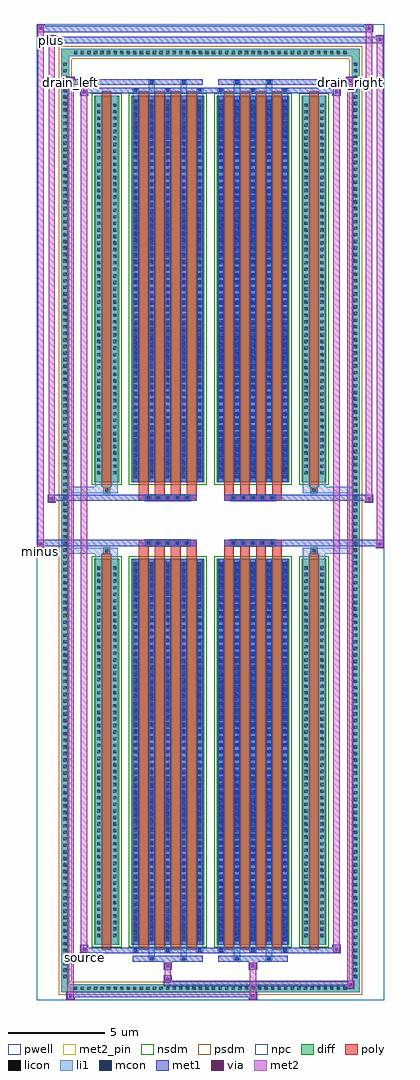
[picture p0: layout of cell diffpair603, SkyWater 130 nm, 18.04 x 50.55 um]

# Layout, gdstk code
import gdstk
lib = gdstk.Library(unit=1e-6, precision=5e-09)
def R(c, l, rs):  # rectangles x0, y0, x1, y1
    for r in rs: c.add(gdstk.rectangle(r[:2], r[2:], *l))
def A(c, l, x, y, w, h, nx, ny, dx, dy):  # array of equal rectangles
    R(c, l, [(x+i*dx, y+j*dy, x+i*dx+w, y+j*dy+h) for i in range(nx) for j in range(ny)])
def P(c, l, *ps):  # polygons
    for p in ps: c.add(gdstk.Polygon(p, *l))
pwell = (64, 44)
diff = (65, 20)
poly = (66, 20)
licon = (66, 44)
li1 = (67, 20)
mcon = (67, 44)
met1 = (68, 20)
via = (68, 44)
met2_pin = (69, 16)
met2 = (69, 20)
nsdm = (93, 44)
psdm = (94, 20)
npc = (95, 20)

diffpair603 = lib.new_cell('diffpair603')
R(diffpair603, pwell, [(-9,-24.84,9,25.71), (-6.32,-23.03,-0.01,-0.805), (0.01,-23.03,6.32,-0.805), (-6.32,0.805,-0.01,23.03), (0.01,0.805,6.32,23.03)])
A(diffpair603, diff, -7.175, -24.44, 0.41, 0.41, 42, 2, 0.34, 48.47)
A(diffpair603, diff, -7.73, -23.835, 0.41, 0.41, 1, 140, 0, 0.34)
A(diffpair603, diff, 7.32, -23.835, 0.41, 0.41, 1, 140, 0, 0.34)
R(diffpair603, diff, [(-7.175,-24.44,7.175,-24.03), (-7.73,-23.835,-7.32,23.835), (7.32,-23.835,7.73,23.835), (-6.01,-21.985,-4.73,-1.985), (-4.09,-21.985,-0.32,-1.985), (0.32,-21.985,4.09,-1.985), (4.73,-21.985,6.01,-1.985), (-6.01,1.985,-4.73,21.985), (-4.09,1.985,-0.32,21.985), (0.32,1.985,4.09,21.985), (4.73,1.985,6.01,21.985), (-7.175,24.03,7.175,24.44)])
P(diffpair603, diff, [(7.73,24.44),(-7.73,24.44),(-7.73,-24.03),(-7.32,-24.03),(-7.32,24.03),(7.32,24.03),(7.32,-24.03),(-7.32,-24.03),(-7.73,-24.03),(-7.73,-24.44),(7.73,-24.44)])
A(diffpair603, poly, -3.7, -22.235, 0.5, 20.5, 4, 2, 0.83, 23.97)
A(diffpair603, poly, 0.71, -22.235, 0.5, 20.5, 4, 2, 0.83, 23.97)
A(diffpair603, poly, -3.7, -1.735, 0.5, 0.4, 4, 2, 0.83, 3.07)
A(diffpair603, poly, 0.71, -1.735, 0.5, 0.4, 4, 2, 0.83, 3.07)
A(diffpair603, poly, -3.37, -1.335, 0.33, 0.33, 5, 2, 0.5, 2.34)
A(diffpair603, poly, 1.04, -1.335, 0.33, 0.33, 5, 2, 0.5, 2.34)
R(diffpair603, poly, [(-5.62,-22.235,-5.12,-1.735), (5.12,-22.235,5.62,-1.735), (-5.535,-1.735,-5.205,-1.405), (-5.535,-1.735,-5.205,-1.405), (5.205,-1.735,5.535,-1.405), (5.205,-1.735,5.535,-1.405), (-3.7,-1.335,-0.71,-1.005), (0.71,-1.335,3.7,-1.005), (-3.7,1.005,-0.71,1.335), (0.71,1.005,3.7,1.335), (-5.535,1.405,-5.205,1.735), (-5.535,1.405,-5.205,1.735), (5.205,1.405,5.535,1.735), (5.205,1.405,5.535,1.735), (-5.62,1.735,-5.12,22.235), (5.12,1.735,5.62,22.235)])
A(diffpair603, licon, -7.055, -24.32, 0.17, 0.17, 42, 2, 0.34, 48.47)
A(diffpair603, licon, -7.61, -23.715, 0.17, 0.17, 1, 140, 0, 0.34)
A(diffpair603, licon, 7.44, -23.715, 0.17, 0.17, 1, 140, 0, 0.34)
A(diffpair603, licon, -5.87, -21.59, 0.17, 0.17, 1, 57, 0, 0.34)
A(diffpair603, licon, -5.04, -21.59, 0.17, 0.17, 1, 57, 0, 0.34)
A(diffpair603, licon, -3.95, -21.59, 0.17, 0.17, 5, 57, 0.83, 0.34)
A(diffpair603, licon, 0.46, -21.59, 0.17, 0.17, 5, 57, 0.83, 0.34)
A(diffpair603, licon, 4.87, -21.59, 0.17, 0.17, 1, 57, 0, 0.34)
A(diffpair603, licon, 5.7, -21.59, 0.17, 0.17, 1, 57, 0, 0.34)
A(diffpair603, licon, -3.29, -1.255, 0.17, 0.17, 5, 2, 0.5, 2.34)
A(diffpair603, licon, 1.12, -1.255, 0.17, 0.17, 5, 2, 0.5, 2.34)
A(diffpair603, licon, -5.87, 2.38, 0.17, 0.17, 1, 57, 0, 0.34)
A(diffpair603, licon, -5.04, 2.38, 0.17, 0.17, 1, 57, 0, 0.34)
A(diffpair603, licon, -3.95, 2.38, 0.17, 0.17, 5, 57, 0.83, 0.34)
A(diffpair603, licon, 0.46, 2.38, 0.17, 0.17, 5, 57, 0.83, 0.34)
A(diffpair603, licon, 4.87, 2.38, 0.17, 0.17, 1, 57, 0, 0.34)
A(diffpair603, licon, 5.7, 2.38, 0.17, 0.17, 1, 57, 0, 0.34)
R(diffpair603, licon, [(-5.455,-1.655,-5.285,-1.485), (5.285,-1.655,5.455,-1.485), (-5.455,1.485,-5.285,1.655), (5.285,1.485,5.455,1.655)])
A(diffpair603, li1, -7.135, -24.4, 0.33, 0.33, 42, 2, 0.34, 48.47)
A(diffpair603, li1, -7.69, -23.795, 0.33, 0.33, 1, 140, 0, 0.34)
A(diffpair603, li1, 7.36, -23.795, 0.33, 0.33, 1, 140, 0, 0.34)
A(diffpair603, li1, -4.03, -22.36, 0.33, 0.375, 3, 2, 1.66, 44.345)
A(diffpair603, li1, -3.95, -22.36, 0.17, 0.17, 3, 2, 1.66, 44.55)
A(diffpair603, li1, 0.38, -22.36, 0.33, 0.375, 3, 2, 1.66, 44.345)
A(diffpair603, li1, 0.46, -22.36, 0.17, 0.17, 3, 2, 1.66, 44.55)
A(diffpair603, li1, -4.03, -21.985, 0.33, 20, 5, 2, 0.83, 23.97)
A(diffpair603, li1, 0.38, -21.985, 0.33, 20, 5, 2, 0.83, 23.97)
A(diffpair603, li1, -3.95, -21.79, 0.17, 0.17, 5, 55, 0.83, 0.36)
A(diffpair603, li1, -3.95, -21.79, 0.17, 19.61, 5, 2, 0.83, 23.97)
A(diffpair603, li1, 0.46, -21.79, 0.17, 0.17, 5, 55, 0.83, 0.36)
A(diffpair603, li1, 0.46, -21.79, 0.17, 19.61, 5, 2, 0.83, 23.97)
A(diffpair603, li1, -5.95, -21.67, 0.33, 0.33, 1, 57, 0, 0.34)
A(diffpair603, li1, -5.12, -21.67, 0.33, 0.33, 1, 57, 0, 0.34)
A(diffpair603, li1, -4.03, -21.67, 0.33, 0.33, 5, 57, 0.83, 0.34)
A(diffpair603, li1, 0.38, -21.67, 0.33, 0.33, 5, 57, 0.83, 0.34)
A(diffpair603, li1, 4.79, -21.67, 0.33, 0.33, 1, 57, 0, 0.34)
A(diffpair603, li1, 5.62, -21.67, 0.33, 0.33, 1, 57, 0, 0.34)
A(diffpair603, li1, -3.37, -1.335, 0.33, 0.33, 5, 2, 0.5, 2.34)
A(diffpair603, li1, 1.04, -1.335, 0.33, 0.33, 5, 2, 0.5, 2.34)
A(diffpair603, li1, -3.95, 2.18, 0.17, 0.17, 5, 55, 0.83, 0.36)
A(diffpair603, li1, 0.46, 2.18, 0.17, 0.17, 5, 55, 0.83, 0.36)
A(diffpair603, li1, -5.95, 2.3, 0.33, 0.33, 1, 57, 0, 0.34)
A(diffpair603, li1, -5.12, 2.3, 0.33, 0.33, 1, 57, 0, 0.34)
A(diffpair603, li1, -4.03, 2.3, 0.33, 0.33, 5, 57, 0.83, 0.34)
A(diffpair603, li1, 0.38, 2.3, 0.33, 0.33, 5, 57, 0.83, 0.34)
A(diffpair603, li1, 4.79, 2.3, 0.33, 0.33, 1, 57, 0, 0.34)
A(diffpair603, li1, 5.62, 2.3, 0.33, 0.33, 1, 57, 0, 0.34)
R(diffpair603, li1, [(-7.73,-24.44,-7.32,-24.03), (-7.73,-24.44,-7.32,-24.03), (-7.32,-24.44,7.32,-24.03), (7.32,-24.44,7.73,-24.03), (7.32,-24.44,7.73,-24.03), (-7.73,-24.03,-7.32,24.03), (7.32,-24.03,7.73,24.03), (-3.2,-22.79,-2.87,-21.985), (-3.12,-22.79,-2.95,-22.62), (-1.54,-22.79,-1.21,-21.985), (-1.46,-22.79,-1.29,-22.62), (1.21,-22.79,1.54,-21.985), (1.29,-22.79,1.46,-22.62), (2.87,-22.79,3.2,-21.985), (2.95,-22.79,3.12,-22.62), (-5.95,-21.985,-5.62,-1.985), (-5.12,-21.985,-4.79,-1.985), (4.79,-21.985,5.12,-1.985), (5.62,-21.985,5.95,-1.985), (-5.95,-1.985,-5.62,-1.405), (-5.12,-1.985,-4.79,-1.405), (4.79,-1.985,5.12,-1.405), (5.62,-1.985,5.95,-1.405), (-7.73,-1.735,-5.535,-1.405), (-5.95,-1.735,-5.535,-1.405), (-5.535,-1.735,-5.205,-1.405), (-5.205,-1.735,-4.79,-1.405), (4.79,-1.735,5.205,-1.405), (5.205,-1.735,5.535,-1.405), (5.205,-1.735,7.73,-1.405), (5.535,-1.735,5.95,-1.405), (-7.73,1.405,-5.535,1.735), (-5.95,1.405,-5.535,1.735), (-5.95,1.405,-5.62,1.985), (-5.535,1.405,-5.205,1.735), (-5.205,1.405,-4.79,1.735), (-5.12,1.405,-4.79,1.985), (4.79,1.405,5.205,1.735), (4.79,1.405,5.12,1.985), (5.205,1.405,5.535,1.735), (5.205,1.405,7.73,1.735), (5.535,1.405,5.95,1.735), (5.62,1.405,5.95,1.985), (-5.95,1.985,-5.62,21.985), (-5.12,1.985,-4.79,21.985), (4.79,1.985,5.12,21.985), (5.62,1.985,5.95,21.985), (-3.2,21.985,-2.87,22.79), (-1.54,21.985,-1.21,22.79), (1.21,21.985,1.54,22.79), (2.87,21.985,3.2,22.79), (-3.12,22.62,-2.95,22.79), (-1.46,22.62,-1.29,22.79), (1.29,22.62,1.46,22.79), (2.95,22.62,3.12,22.79), (-7.73,24.03,-7.32,24.44), (-7.73,24.03,-7.32,24.44), (-7.32,24.03,7.32,24.44), (7.32,24.03,7.73,24.44), (7.32,24.03,7.73,24.44)])
A(diffpair603, mcon, -3.95, -22.36, 0.17, 0.17, 3, 2, 1.66, 44.55)
A(diffpair603, mcon, 0.46, -22.36, 0.17, 0.17, 3, 2, 1.66, 44.55)
A(diffpair603, mcon, -3.95, -21.79, 0.17, 0.17, 5, 55, 0.83, 0.36)
A(diffpair603, mcon, 0.46, -21.79, 0.17, 0.17, 5, 55, 0.83, 0.36)
A(diffpair603, mcon, -3.29, -1.255, 0.17, 0.17, 5, 2, 0.5, 2.34)
A(diffpair603, mcon, 1.12, -1.255, 0.17, 0.17, 5, 2, 0.5, 2.34)
A(diffpair603, mcon, -3.95, 2.18, 0.17, 0.17, 5, 55, 0.83, 0.36)
A(diffpair603, mcon, 0.46, 2.18, 0.17, 0.17, 5, 55, 0.83, 0.36)
R(diffpair603, mcon, [(-3.12,-22.79,-2.95,-22.62), (-1.46,-22.79,-1.29,-22.62), (1.29,-22.79,1.46,-22.62), (2.95,-22.79,3.12,-22.62), (-3.12,22.62,-2.95,22.79), (-1.46,22.62,-1.29,22.79), (1.29,22.62,1.46,22.79), (2.95,22.62,3.12,22.79)])
A(diffpair603, met1, -4.01, -22.42, 0.29, 0.29, 3, 2, 1.66, 44.55)
A(diffpair603, met1, 0.4, -22.42, 0.29, 0.29, 3, 2, 1.66, 44.55)
A(diffpair603, met1, -4.01, -21.985, 0.29, 20, 5, 2, 0.83, 23.97)
A(diffpair603, met1, 0.4, -21.985, 0.29, 20, 5, 2, 0.83, 23.97)
A(diffpair603, met1, -4.01, -21.85, 0.29, 0.29, 5, 55, 0.83, 0.36)
A(diffpair603, met1, 0.4, -21.85, 0.29, 0.29, 5, 55, 0.83, 0.36)
A(diffpair603, met1, -3.35, -1.315, 0.29, 0.29, 5, 2, 0.5, 2.34)
A(diffpair603, met1, 1.06, -1.315, 0.29, 0.29, 5, 2, 0.5, 2.34)
A(diffpair603, met1, -4.01, 2.12, 0.29, 0.29, 5, 55, 0.83, 0.36)
A(diffpair603, met1, 0.4, 2.12, 0.29, 0.29, 5, 55, 0.83, 0.36)
R(diffpair603, met1, [(-7.46,-24.84,-7.03,-24.41), (1.99,-24.84,2.42,-24.41), (-7.46,-24.7,2.42,-24.41), (7.03,-24.27,7.46,-23.84), (-2.42,-24.13,7.46,-23.84), (-2.42,-23.99,-1.99,-23.56), (-2.42,-23.28,-1.99,-22.85), (1.99,-23.28,2.42,-22.85), (-4.01,-22.85,-0.4,-22.56), (-3.18,-22.85,-2.89,-22.56), (-1.52,-22.85,-1.23,-22.56), (0.4,-22.85,4.01,-22.56), (1.23,-22.85,1.52,-22.56), (2.89,-22.85,3.18,-22.56), (-6.75,-22.42,-6.32,-21.99), (-6.75,-22.42,-4.01,-22.13), (-4.01,-22.42,-0.4,-22.13), (-0.4,-22.42,0.4,-22.13), (0.4,-22.42,4.01,-22.13), (4.01,-22.42,6.75,-22.13), (6.32,-22.42,6.75,-21.99), (-9,-1.435,-8.57,-1.005), (8.57,-1.435,9,-1.005), (-9,-1.335,-0.71,-1.005), (-3.7,-1.335,-0.71,-1.005), (0.71,-1.335,3.7,-1.005), (0.71,-1.335,9,-1.005), (-8.43,0.905,-8,1.335), (8,0.905,8.43,1.335), (-8.43,1.005,-3.7,1.335), (-3.7,1.005,-0.71,1.335), (0.71,1.005,3.7,1.335), (3.7,1.005,8.43,1.335), (-6.75,21.99,-6.32,22.42), (6.32,21.99,6.75,22.42), (-6.75,22.13,-4.01,22.42), (-4.01,22.13,-0.4,22.42), (-0.4,22.13,0.4,22.42), (0.4,22.13,4.01,22.42), (4.01,22.13,6.75,22.42), (-7.46,22.56,-7.03,22.99), (-7.46,22.56,-4.01,22.85), (-4.01,22.56,-0.4,22.85), (-3.18,22.56,-2.89,22.85), (-1.52,22.56,-1.23,22.85), (0.4,22.56,4.01,22.85), (1.23,22.56,1.52,22.85), (2.89,22.56,3.18,22.85), (4.01,22.56,7.46,22.85), (7.03,22.56,7.46,22.99), (-8.43,24.71,-8,25.14), (-8.43,24.71,-6.32,25.04), (-6.32,24.71,6.32,25.04), (6.32,24.71,9,25.04), (8.57,24.71,9,25.14), (-9,25.28,-8.57,25.71), (-9,25.28,-6.32,25.61), (-6.32,25.28,6.32,25.61), (6.32,25.28,8.43,25.61), (8,25.28,8.43,25.71)])
R(diffpair603, via, [(-7.32,-24.7,-7.17,-24.55), (2.13,-24.7,2.28,-24.55), (7.17,-24.13,7.32,-23.98), (-2.28,-23.85,-2.13,-23.7), (-2.28,-23.14,-2.13,-22.99), (2.13,-23.14,2.28,-22.99), (-6.61,-22.28,-6.46,-22.13), (6.46,-22.28,6.61,-22.13), (-8.86,-1.295,-8.71,-1.145), (8.71,-1.295,8.86,-1.145), (-8.29,1.045,-8.14,1.195), (8.14,1.045,8.29,1.195), (-6.61,22.13,-6.46,22.28), (6.46,22.13,6.61,22.28), (-7.32,22.7,-7.17,22.85), (7.17,22.7,7.32,22.85), (-8.29,24.85,-8.14,25), (8.71,24.85,8.86,25), (-8.86,25.42,-8.71,25.57), (8.14,25.42,8.29,25.57)])
R(diffpair603, met2_pin, [(-6.785,-22.87,-6.285,-22.37), (-9.035,-1.885,-8.535,-1.385), (-7.495,22.44,-6.995,22.94), (6.995,22.44,7.495,22.94), (-8.465,24.59,-7.965,25.09)])
R(diffpair603, met2, [(-7.41,-24.79,-7.08,-24.46), (-7.41,-24.79,-7.08,22.94), (2.04,-24.79,2.37,-24.46), (2.04,-24.46,2.37,-23.23), (7.08,-24.22,7.41,-23.89), (7.08,-24.22,7.41,22.94), (-2.37,-23.94,-2.04,-23.61), (-2.37,-23.61,-2.04,-23.23), (-2.37,-23.23,-2.04,-22.9), (2.04,-23.23,2.37,-22.9), (-6.7,-22.37,-6.37,-22.04), (-6.7,-22.37,-6.37,22.37), (6.37,-22.37,6.7,-22.04), (6.37,-22.37,6.7,22.37), (-8.95,-1.385,-8.62,-1.055), (-8.95,-1.385,-8.62,25.66), (8.62,-1.385,8.95,-1.055), (8.62,-1.385,8.95,25.09), (-8.38,0.955,-8.05,1.285), (-8.38,0.955,-8.05,25.09), (8.05,0.955,8.38,1.285), (8.05,0.955,8.38,25.66), (-6.7,22.04,-6.37,22.37), (6.37,22.04,6.7,22.37), (-7.41,22.61,-7.08,22.94), (7.08,22.61,7.41,22.94), (-8.38,24.76,-8.05,25.09), (8.62,24.76,8.95,25.09), (-8.95,25.33,-8.62,25.66), (8.05,25.33,8.38,25.66)])
P(diffpair603, met2, [(8.95,-1.385),(8.95,-1.385),(8.95,-1.055),(8.95,-1.055)],
  [(8.95,24.76),(8.95,24.76),(8.95,25.09),(8.95,25.09)],
  [(-8.62,-1.385),(-8.62,-1.385),(-8.62,-1.055),(-8.62,-1.055)],
  [(-8.62,25.33),(-8.62,25.33),(-8.62,25.66),(-8.62,25.66)],
  [(8.38,0.955),(8.38,0.955),(8.38,1.285),(8.38,1.285)],
  [(8.38,25.33),(8.38,25.33),(8.38,25.66),(8.38,25.66)],
  [(-8.05,0.955),(-8.05,0.955),(-8.05,1.285),(-8.05,1.285)],
  [(-8.05,24.76),(-8.05,24.76),(-8.05,25.09),(-8.05,25.09)],
  [(-7.08,-24.79),(-7.08,-24.79),(-7.08,-24.46),(-7.08,-24.46)],
  [(-7.08,22.61),(-7.08,22.61),(-7.08,22.94),(-7.08,22.94)],
  [(7.41,-24.22),(7.41,-24.22),(7.41,-23.89),(7.41,-23.89)],
  [(7.41,22.61),(7.41,22.61),(7.41,22.94),(7.41,22.94)],
  [(-6.37,-22.37),(-6.37,-22.37),(-6.37,-22.04),(-6.37,-22.04)],
  [(-6.37,22.04),(-6.37,22.04),(-6.37,22.37),(-6.37,22.37)],
  [(6.7,-22.37),(6.7,-22.37),(6.7,-22.04),(6.7,-22.04)],
  [(6.7,22.04),(6.7,22.04),(6.7,22.37),(6.7,22.37)])
R(diffpair603, nsdm, [(-6.14,-22.115,-4.6,-1.855), (-4.22,-22.115,-0.19,-1.855), (0.19,-22.115,4.22,-1.855), (4.6,-22.115,6.14,-1.855), (-6.14,1.855,-4.6,22.115), (-4.22,1.855,-0.19,22.115), (0.19,1.855,4.22,22.115), (4.6,1.855,6.14,22.115)])
P(diffpair603, psdm, [(7.86,24.57),(-7.86,24.57),(-7.86,-23.9),(-7.19,-23.9),(-7.19,23.9),(7.19,23.9),(7.19,-23.9),(-7.19,-23.9),(-7.86,-23.9),(-7.86,-24.57),(7.86,-24.57)])
A(diffpair603, npc, -3.39, -1.355, 0.37, 0.37, 5, 2, 0.5, 2.34)
A(diffpair603, npc, 1.02, -1.355, 0.37, 0.37, 5, 2, 0.5, 2.34)
R(diffpair603, npc, [(-5.555,-1.755,-5.185,-1.385), (5.185,-1.755,5.555,-1.385), (-3.39,-1.355,-2.52,-0.985), (-3.39,-1.355,-2.52,-0.985), (-2.89,-1.355,-2.02,-0.985), (-2.89,-1.355,-2.02,-0.985), (-2.39,-1.355,-1.52,-0.985), (-2.39,-1.355,-1.52,-0.985), (-1.89,-1.355,-1.02,-0.985), (-1.89,-1.355,-1.02,-0.985), (1.02,-1.355,1.89,-0.985), (1.02,-1.355,1.89,-0.985), (1.52,-1.355,2.39,-0.985), (1.52,-1.355,2.39,-0.985), (2.02,-1.355,2.89,-0.985), (2.02,-1.355,2.89,-0.985), (2.52,-1.355,3.39,-0.985), (2.52,-1.355,3.39,-0.985), (-3.39,0.985,-2.52,1.355), (-3.39,0.985,-2.52,1.355), (-2.89,0.985,-2.02,1.355), (-2.89,0.985,-2.02,1.355), (-2.39,0.985,-1.52,1.355), (-2.39,0.985,-1.52,1.355), (-1.89,0.985,-1.02,1.355), (-1.89,0.985,-1.02,1.355), (1.02,0.985,1.89,1.355), (1.02,0.985,1.89,1.355), (1.52,0.985,2.39,1.355), (1.52,0.985,2.39,1.355), (2.02,0.985,2.89,1.355), (2.02,0.985,2.89,1.355), (2.52,0.985,3.39,1.355), (2.52,0.985,3.39,1.355), (-5.555,1.385,-5.185,1.755), (5.185,1.385,5.555,1.755)])
diffpair603.add(gdstk.Label('minus', (-8.785,-1.635), layer=69, texttype=5))
diffpair603.add(gdstk.Label('drain_right', (7.245,22.69), layer=69, texttype=5))
diffpair603.add(gdstk.Label('drain_left', (-7.245,22.69), layer=69, texttype=5))
diffpair603.add(gdstk.Label('source', (-6.535,-22.62), layer=69, texttype=5))
diffpair603.add(gdstk.Label('plus', (-8.215,24.84), layer=69, texttype=5))

lib.write_gds('diffpair603.gds')
